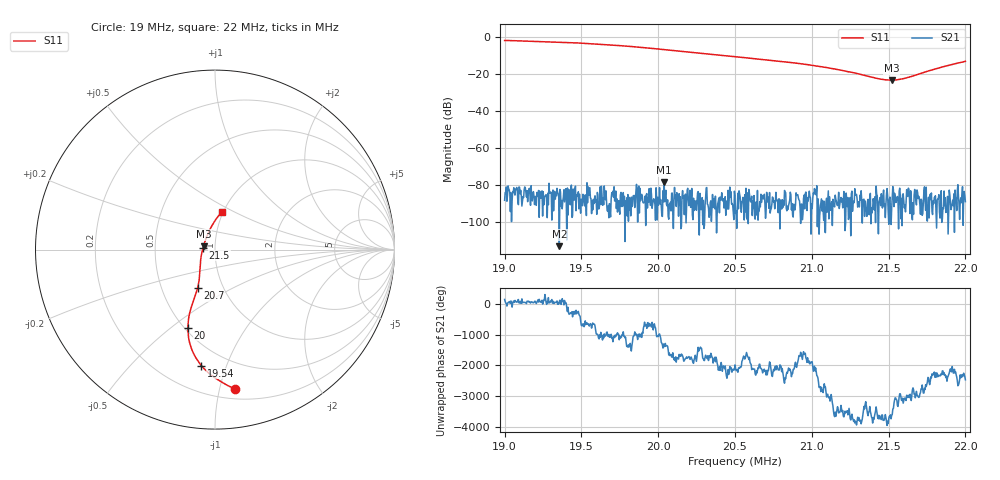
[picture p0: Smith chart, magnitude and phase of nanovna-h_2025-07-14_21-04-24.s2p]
! NanoVNA-App by OneOfEleven et al v1.1.209 (+OD18)
! Date: 2025-07-14 21:04:26
! Start: 19MHz Stop: 22MHz Points: 801
! S-Parameter data: F S11 S21 S12 S22
# Hz S RI R 50
!  Frequency  S11_Real  S11_Imag  S21_Real  S21_Imag  S12_Real  S12_Imag  S22_Real  S22_Imag
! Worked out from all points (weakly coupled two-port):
!   801 points, 19 MHz to 22 MHz, reference 50 ohm
!   highest |S21| = -78.55 dB at 20.04 MHz (marker M1); lowest = -112.9 dB at 19.36 MHz (marker M2)
!   lowest |S11| = -23.5 dB at 21.52 MHz (marker M3), VSWR 1.14, Z = 44 + j1.68 ohm
!   |S11| at or under -10 dB: 20.39 MHz to end of sweep
!   S12 and S22 are empty: the file has one direction only
!   S11 on the Smith chart (normalised r, x): 19 MHz: 0.28, -1.12; 19.54 MHz: 0.37, -0.82; 20 MHz: 0.52, -0.57; 20.7 MHz: 0.76, -0.34; 21.5 MHz: 0.88, +0.02; 22 MHz: 0.98, +0.43
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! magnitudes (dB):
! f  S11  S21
! 19 MHz  -2.1  -88.2
! 19.36 MHz  -3.0  -112.9
! 19.5 MHz  -3.6  -87.7
! 19.54 MHz  -3.7  -78.8
! 19.77 MHz  -5.0  -91.1
! 20 MHz  -6.7  -90.9
! 20.04 MHz  -7.0  -78.6
! 20.06 MHz  -7.2  -91.3
! 20.5 MHz  -10.9  -85.9
! 20.7 MHz  -12.6  -93.8
! 20.86 MHz  -13.9  -88.1
! 21 MHz  -15.5  -92.7
! 21.17 MHz  -17.9  -89.5
! 21.27 MHz  -19.4  -90.2
! 21.43 MHz  -22.6  -85.8
! 21.5 MHz  -23.5  -94.6
! 21.5 MHz  -23.5  -101.1
! 21.52 MHz  -23.5  -92.7
! 21.57 MHz  -23.2  -103.6
! 21.61 MHz  -22.4  -94.5
! 21.84 MHz  -16.7  -91.9
! 22 MHz  -13.4  -88.9
